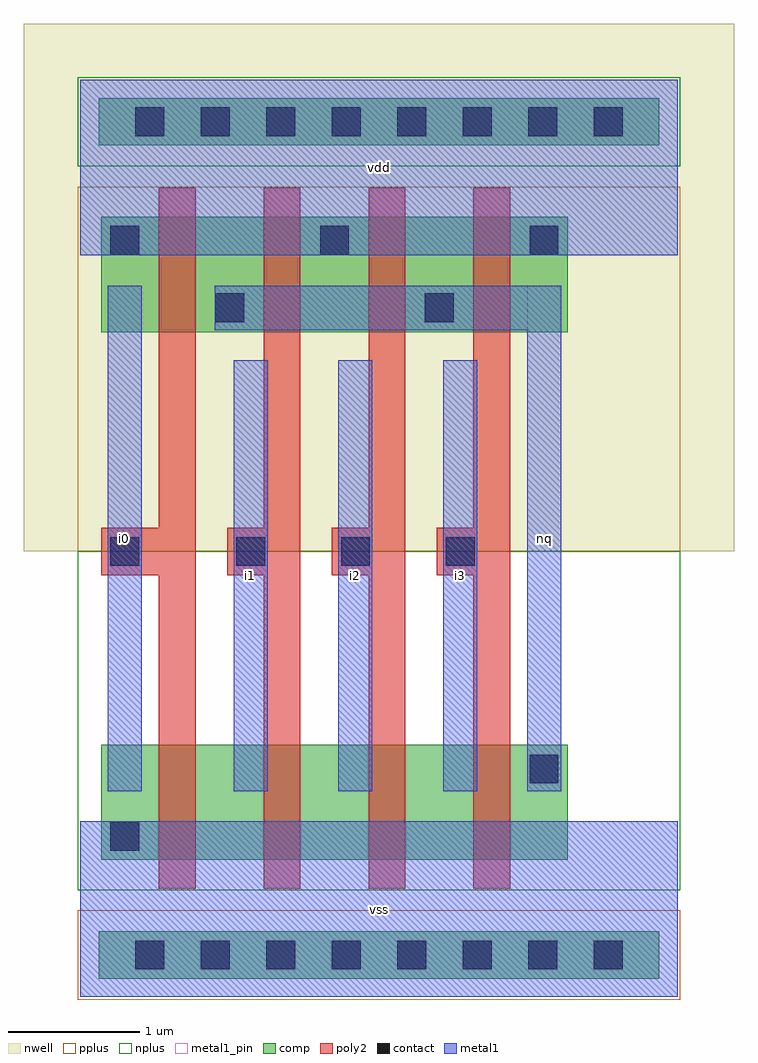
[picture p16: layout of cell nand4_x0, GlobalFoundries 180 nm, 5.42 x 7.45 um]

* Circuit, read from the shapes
.subckt nand4_x0 i0 i1 i2 i3 nq vdd vss
XM1 n1 i0 vss vss nfet_03v3 w=0.88u l=0.28u
XM2 n2 i1 n1 vss nfet_03v3 w=0.88u l=0.28u
XM3 n3 i2 n2 vss nfet_03v3 w=0.88u l=0.28u
XM4 nq i3 n3 vss nfet_03v3 w=0.88u l=0.28u
XM5 nq i0 vdd vdd pfet_03v3 w=0.88u l=0.28u
XM6 vdd i1 nq vdd pfet_03v3 w=0.88u l=0.28u
XM7 nq i2 vdd vdd pfet_03v3 w=0.88u l=0.28u
XM8 vdd i3 nq vdd pfet_03v3 w=0.88u l=0.28u
.ends

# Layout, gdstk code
import gdstk
lib = gdstk.Library(unit=1e-6, precision=1e-09)
def R(c, l, rs):  # rectangles x0, y0, x1, y1
    for r in rs: c.add(gdstk.rectangle(r[:2], r[2:], *l))
def A(c, l, x, y, w, h, nx, ny, dx, dy):  # array of equal rectangles
    R(c, l, [(x+i*dx, y+j*dy, x+i*dx+w, y+j*dy+h) for i in range(nx) for j in range(ny)])
def P(c, l, *ps):  # polygons
    for p in ps: c.add(gdstk.Polygon(p, *l))
nwell = (21, 0)
comp = (22, 0)
poly2 = (30, 0)
pplus = (31, 0)
nplus = (32, 0)
contact = (33, 0)
metal1 = (34, 0)
metal1_pin = (34, 10)

nand4_x0 = lib.new_cell('nand4_x0')
R(nand4_x0, nwell, [(-0.43,3.4,4.99,7.43)])
R(nand4_x0, comp, [(0.14,0.14,4.42,0.5), (0.16,1.045,3.72,1.925), (0.16,5.075,3.72,5.955), (0.14,6.5,4.42,6.86)])
P(nand4_x0, poly2, [(0.6,0.825),(0.6,3.22),(0.16,3.22),(0.16,3.58),(0.6,3.58),(0.6,6.175),(0.88,6.175),(0.88,0.825)],
  [(1.4,0.825),(1.4,3.22),(1.12,3.22),(1.12,3.58),(1.4,3.58),(1.4,6.175),(1.68,6.175),(1.68,0.825)],
  [(2.2,0.825),(2.2,3.22),(1.92,3.22),(1.92,3.58),(2.2,3.58),(2.2,6.175),(2.48,6.175),(2.48,0.825)],
  [(3,0.825),(3,3.22),(2.72,3.22),(2.72,3.58),(3,3.58),(3,6.175),(3.28,6.175),(3.28,0.825)])
R(nand4_x0, pplus, [(-0.02,-0.02,4.58,0.66), (-0.02,3.4,4.58,6.185)])
R(nand4_x0, nplus, [(-0.02,0.815,4.58,3.4), (-0.02,6.34,4.58,7.02)])
A(nand4_x0, contact, 0.42, 0.21, 0.22, 0.22, 8, 2, 0.5, 6.36)
A(nand4_x0, contact, 1.19, 3.29, 0.22, 0.22, 3, 1, 0.8, 0)
A(nand4_x0, contact, 0.23, 5.665, 0.22, 0.22, 3, 1, 1.6, 0)
R(nand4_x0, contact, [(0.23,1.115,0.45,1.335), (3.43,1.63,3.65,1.85), (0.23,3.29,0.45,3.51), (1.03,5.15,1.25,5.37), (2.63,5.15,2.85,5.37)])
A(nand4_x0, metal1, 1.17, 1.57, 0.26, 3.29, 3, 1, 0.8, 0)
R(nand4_x0, metal1, [(0,0,4.56,1.34), (0.21,1.57,0.47,5.43), (0,5.66,4.56,7)])
P(nand4_x0, metal1, [(3.41,1.57),(3.41,5.09),(1.025,5.09),(1.025,5.43),(3.67,5.43),(3.67,1.57)])
A(nand4_x0, metal1_pin, 1.17, 1.57, 0.26, 3.29, 3, 1, 0.8, 0)
R(nand4_x0, metal1_pin, [(0,0,4.56,1.34), (0.21,1.57,0.47,5.43), (3.41,1.57,3.67,5.43), (0,5.66,4.56,7)])
nand4_x0.add(gdstk.Label('vss', (2.28,0.67), layer=34, texttype=10))
nand4_x0.add(gdstk.Label('vdd', (2.28,6.33), layer=34, texttype=10))
nand4_x0.add(gdstk.Label('i0', (0.34,3.5), layer=34, texttype=10))
nand4_x0.add(gdstk.Label('nq', (3.54,3.5), layer=34, texttype=10))
nand4_x0.add(gdstk.Label('i1', (1.3,3.215), layer=34, texttype=10))
nand4_x0.add(gdstk.Label('i2', (2.1,3.215), layer=34, texttype=10))
nand4_x0.add(gdstk.Label('i3', (2.9,3.215), layer=34, texttype=10))

lib.write_gds('nand4_x0.gds')
